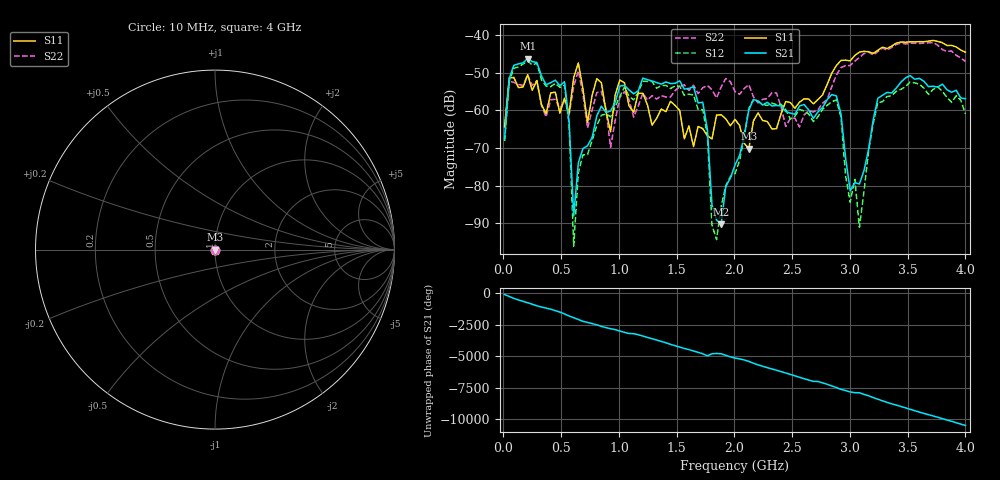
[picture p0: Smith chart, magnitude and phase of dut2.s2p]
! PocketVna 1.81  pocketvna.com
! Live measurements ((Reflection-S11, Transmission-S21, Transmission-S12, Reflection-S22) Linear 10000000-4000000000/101 non-calibrated)
# GHz S MA R 50
! GHz  |S11|  <S11  |S21|  <S21  |S12|  <S12  |S22|  <S22
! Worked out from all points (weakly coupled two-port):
!   101 points, 10 MHz to 4 GHz, reference 50 ohm
!   highest |S21| = -46.18 dB at 209.5 MHz (marker M1); lowest = -90.3 dB at 1.885 GHz (marker M2)
!   lowest |S11| = -70.2 dB at 2.125 GHz (marker M3), VSWR 1.00, Z = 50 + j0.0116 ohm
!   |S11| at or under -10 dB: start of sweep to end of sweep
!   |S22| runs from -69.8 to -41.9 dB; largest |S21 - S12| = 0.0046
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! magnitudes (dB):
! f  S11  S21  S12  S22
! 10 MHz  -64.2  -67.5  -68.1  -64.6
! 49.9 MHz  -51.3  -51.5  -52.2  -52.2
! 209.5 MHz  -50.5  -46.2  -46.8  -50.5
! 528.7 MHz  -56.7  -52.3  -53.3  -57.1
! 608.5 MHz  -51.2  -88.0  -96.1  -53.6
! 688.3 MHz  -54.3  -70.1  -71.8  -55.7
! 847.9 MHz  -52.6  -58.8  -61.3  -54.9
! 927.7 MHz  -65.7  -60.2  -61.7  -69.8
! 1.008 GHz  -51.9  -53.5  -56.3  -56.5
! 1.367 GHz  -59.6  -53.0  -53.4  -56.0
! 1.726 GHz  -64.8  -57.8  -59.8  -53.9
! 1.806 GHz  -67.6  -85.2  -90.5  -54.5
! 1.885 GHz  -61.1  -90.3  -85.5  -53.7
! 2.005 GHz  -62.4  -74.5  -76.8  -54.9
! 2.125 GHz  -70.2  -59.9  -59.4  -53.1
! 2.683 GHz  -58.2  -62.1  -63.0  -60.4
! 2.883 GHz  -48.1  -56.1  -57.2  -50.6
! 3.002 GHz  -46.8  -81.4  -84.4  -48.0
! 3.122 GHz  -44.2  -76.0  -81.4  -44.8
! 3.242 GHz  -44.0  -56.7  -57.9  -44.3
! 3.362 GHz  -42.8  -55.3  -56.0  -43.2
! 4 GHz  -44.5  -56.9  -60.9  -46.9
